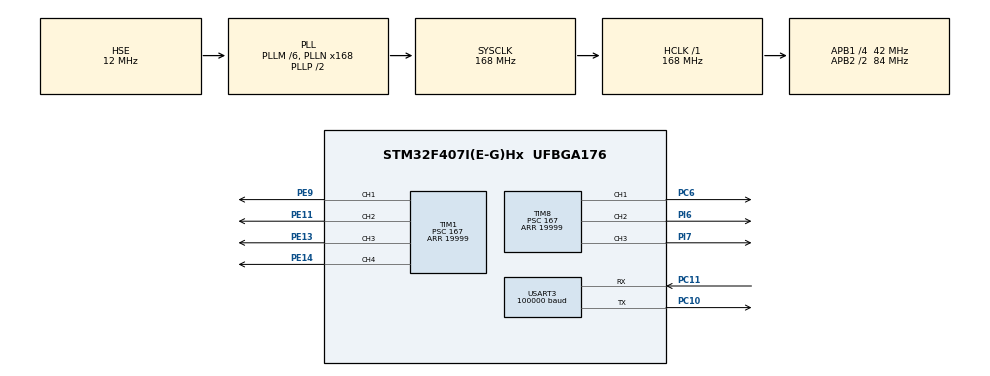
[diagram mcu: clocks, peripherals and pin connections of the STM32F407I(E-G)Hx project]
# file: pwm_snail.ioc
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Dma.Request0=USART3_RX
Dma.USART3_RX.0.Direction=DMA_PERIPH_TO_MEMORY
Dma.USART3_RX.0.FIFOMode=DMA_FIFOMODE_DISABLE
Dma.USART3_RX.0.Instance=DMA1_Stream1
Dma.USART3_RX.0.MemDataAlignment=DMA_MDATAALIGN_BYTE
Dma.USART3_RX.0.MemInc=DMA_MINC_ENABLE
Dma.USART3_RX.0.Mode=DMA_NORMAL
Dma.USART3_RX.0.PeriphDataAlignment=DMA_PDATAALIGN_BYTE
Dma.USART3_RX.0.PeriphInc=DMA_PINC_DISABLE
Dma.USART3_RX.0.Priority=DMA_PRIORITY_LOW
Mcu.Family=STM32F4
Mcu.Name=STM32F407I(E-G)Hx
Mcu.Package=UFBGA176
NVIC.DMA1_Stream1_IRQn=true\:0\:0\:false\:false\:true\:false\:false
NVIC.PriorityGroup=NVIC_PRIORITYGROUP_4
NVIC.USART3_IRQn=true\:0\:0\:false\:false\:false\:true\:true
PA13.Mode=Serial_Wire
PA13.Signal=SYS_JTMS-SWDIO
PA14.Mode=Serial_Wire
PA14.Signal=SYS_JTCK-SWCLK
PC10.Mode=Asynchronous
PC10.Signal=USART3_TX
PC11.Mode=Asynchronous
PC11.Signal=USART3_RX
PC6.GPIO_PuPd=GPIO_PULLUP
PC6.GPIO_Speed=GPIO_SPEED_FREQ_HIGH
PC6.Signal=S_TIM8_CH1
PE11.GPIO_PuPd=GPIO_PULLUP
PE11.GPIO_Speed=GPIO_SPEED_FREQ_HIGH
PE11.Signal=S_TIM1_CH2
PE13.GPIO_PuPd=GPIO_PULLUP
PE13.GPIO_Speed=GPIO_SPEED_FREQ_HIGH
PE13.Signal=S_TIM1_CH3
PE14.GPIO_PuPd=GPIO_PULLUP
PE14.GPIO_Speed=GPIO_SPEED_FREQ_HIGH
PE14.Signal=S_TIM1_CH4
PE9.GPIO_PuPd=GPIO_PULLUP
PE9.GPIO_Speed=GPIO_SPEED_FREQ_HIGH
PE9.Signal=S_TIM1_CH1
PH0-OSC_IN.Mode=HSE-External-Oscillator
PH0-OSC_IN.Signal=RCC_OSC_IN
PH1-OSC_OUT.Mode=HSE-External-Oscillator
PH1-OSC_OUT.Signal=RCC_OSC_OUT
PI6.GPIO_PuPd=GPIO_PULLUP
PI6.GPIO_Speed=GPIO_SPEED_FREQ_HIGH
PI6.Signal=S_TIM8_CH2
PI7.Signal=S_TIM8_CH3
ProjectManager.HeapSize=0x2000
ProjectManager.StackSize=0x2000
ProjectManager.TargetToolchain=MDK-ARM V5
RCC.48MHZClocksFreq_Value=48000000
RCC.AHBFreq_Value=168000000
RCC.APB1CLKDivider=RCC_HCLK_DIV4
RCC.APB1Freq_Value=42000000
RCC.APB1TimFreq_Value=84000000
RCC.APB2CLKDivider=RCC_HCLK_DIV2
RCC.APB2Freq_Value=84000000
RCC.APB2TimFreq_Value=168000000
RCC.CortexFreq_Value=168000000
RCC.HCLKFreq_Value=168000000
RCC.HSE_VALUE=12000000
RCC.HSI_VALUE=16000000
RCC.LSE_VALUE=32768
RCC.PLLM=6
RCC.PLLN=168
RCC.PLLQ=7
RCC.PLLSourceVirtual=RCC_PLLSOURCE_HSE
RCC.RCC_RTC_Clock_SourceVirtual=RCC_RTCCLKSOURCE_HSE_DIV30
RCC.RCC_RTC_Clock_Source_FROM_HSE=RCC_RTCCLKSOURCE_HSE_DIV30
RCC.SYSCLKFreq_VALUE=168000000
RCC.SYSCLKSource=RCC_SYSCLKSOURCE_PLLCLK
RCC.VCOOutputFreq_Value=336000000
SH.S_TIM1_CH1.0=TIM1_CH1,PWM Generation1 CH1
SH.S_TIM1_CH2.0=TIM1_CH2,PWM Generation2 CH2
SH.S_TIM1_CH3.0=TIM1_CH3,PWM Generation3 CH3
SH.S_TIM1_CH4.0=TIM1_CH4,PWM Generation4 CH4
SH.S_TIM8_CH1.0=TIM8_CH1,PWM Generation1 CH1
SH.S_TIM8_CH2.0=TIM8_CH2,PWM Generation2 CH2
SH.S_TIM8_CH3.0=TIM8_CH3,PWM Generation3 CH3
TIM1.Channel-PWM\ Generation1\ CH1=TIM_CHANNEL_1
TIM1.Channel-PWM\ Generation2\ CH2=TIM_CHANNEL_2
TIM1.Channel-PWM\ Generation3\ CH3=TIM_CHANNEL_3
TIM1.Channel-PWM\ Generation4\ CH4=TIM_CHANNEL_4
TIM1.Period=19999
TIM1.Prescaler=167
TIM1.Pulse-PWM\ Generation1\ CH1=2000
TIM1.Pulse-PWM\ Generation2\ CH2=2000
TIM1.Pulse-PWM\ Generation3\ CH3=2000
TIM1.Pulse-PWM\ Generation4\ CH4=2000
TIM8.Channel-PWM\ Generation1\ CH1=TIM_CHANNEL_1
TIM8.Channel-PWM\ Generation2\ CH2=TIM_CHANNEL_2
TIM8.Channel-PWM\ Generation3\ CH3=TIM_CHANNEL_3
TIM8.Period=19999
TIM8.Prescaler=167
TIM8.Pulse-PWM\ Generation1\ CH1=2000
TIM8.Pulse-PWM\ Generation2\ CH2=2000
TIM8.Pulse-PWM\ Generation3\ CH3=2000
USART3.BaudRate=100000
USART3.VirtualMode=VM_ASYNC
VP_TIM1_VS_ClockSourceINT.Mode=Internal
VP_TIM8_VS_ClockSourceINT.Mode=Internal
board=custom

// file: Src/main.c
/* USER CODE BEGIN Header */
/**
  ******************************************************************************
  * @file           : main.c
  * @brief          : Main program body
  ******************************************************************************
  * @attention
  *
  * <h2><center>&copy; Copyright (c) 2019 STMicroelectronics.
  * All rights reserved.</center></h2>
  *
  * This software component is licensed by ST under BSD 3-Clause license,
  * the "License"; You may not use this file except in compliance with the
  * License. You may obtain a copy of the License at:
  *                        opensource.org/licenses/BSD-3-Clause
  *
  ******************************************************************************
  */
/* USER CODE END Header */

#include "main.h"
#include "dma.h"
#include "tim.h"
#include "usart.h"
#include "gpio.h"

/* USER CODE BEGIN Includes */
#include "remote_control.h"
#include "bsp_fric.h"

/* USER CODE END Includes */

void SystemClock_Config(void);
/* USER CODE BEGIN PFP */
const RC_ctrl_t *local_rc_ctrl;
/* USER CODE END PFP */

int main(void)
{

  /* MCU Configuration--------------------------------------------------------*/

  /* Reset of all peripherals, Initializes the Flash interface and the Systick. */
  HAL_Init();

  /* Configure the system clock */
  SystemClock_Config();

  /* Initialize all configured peripherals */
  MX_GPIO_Init();
  MX_DMA_Init();
  MX_USART3_UART_Init();
  MX_TIM8_Init();
  MX_TIM1_Init();
  /* USER CODE BEGIN 2 */

    HAL_TIM_Base_Start(&htim1);
    HAL_TIM_PWM_Start(&htim1, TIM_CHANNEL_1);
    HAL_TIM_PWM_Start(&htim1, TIM_CHANNEL_2);
    HAL_TIM_PWM_Start(&htim1, TIM_CHANNEL_3);
    HAL_TIM_PWM_Start(&htim1, TIM_CHANNEL_1);
    HAL_TIM_Base_Start(&htim8);
    HAL_TIM_PWM_Start(&htim8, TIM_CHANNEL_1);
    HAL_TIM_PWM_Start(&htim8, TIM_CHANNEL_2);
    HAL_TIM_PWM_Start(&htim8, TIM_CHANNEL_3);
    remote_control_init();
    fric_off();
    local_rc_ctrl = get_remote_control_point();
    HAL_Delay(100);
    while(switch_is_up(local_rc_ctrl->rc.s[0]))
    {
        fric_on(2000);
        if(local_rc_ctrl->rc.ch[1] > 600)
        {
            fric_on(1000);
            break;
        }
    }

  /* USER CODE END 2 */

  /* Infinite loop */
  while (1)
  {

    /* USER CODE BEGIN 3 */
        fp32 pwm;
        pwm = 1000.0f + (local_rc_ctrl->rc.ch[3] > 0? local_rc_ctrl->rc.ch[3] : 0);
        fric_on((uint16_t)(pwm));
        HAL_Delay(100);
  }
  /* USER CODE END 3 */
}

void SystemClock_Config(void)
{
  RCC_OscInitTypeDef RCC_OscInitStruct = {0};
  RCC_ClkInitTypeDef RCC_ClkInitStruct = {0};

  /** Configure the main internal regulator output voltage
  */
  __HAL_RCC_PWR_CLK_ENABLE();
  __HAL_PWR_VOLTAGESCALING_CONFIG(PWR_REGULATOR_VOLTAGE_SCALE1);
  /** Initializes the CPU, AHB and APB busses clocks
  */
  RCC_OscInitStruct.OscillatorType = RCC_OSCILLATORTYPE_HSE;
  RCC_OscInitStruct.HSEState = RCC_HSE_ON;
  RCC_OscInitStruct.PLL.PLLState = RCC_PLL_ON;
  RCC_OscInitStruct.PLL.PLLSource = RCC_PLLSOURCE_HSE;
  RCC_OscInitStruct.PLL.PLLM = 6;
  RCC_OscInitStruct.PLL.PLLN = 168;
  RCC_OscInitStruct.PLL.PLLP = RCC_PLLP_DIV2;
  RCC_OscInitStruct.PLL.PLLQ = 7;
  if (HAL_RCC_OscConfig(&RCC_OscInitStruct) != HAL_OK)
  {
    Error_Handler();
  }
  /** Initializes the CPU, AHB and APB busses clocks
  */
  RCC_ClkInitStruct.ClockType = RCC_CLOCKTYPE_HCLK|RCC_CLOCKTYPE_SYSCLK
                              |RCC_CLOCKTYPE_PCLK1|RCC_CLOCKTYPE_PCLK2;
  RCC_ClkInitStruct.SYSCLKSource = RCC_SYSCLKSOURCE_PLLCLK;
  RCC_ClkInitStruct.AHBCLKDivider = RCC_SYSCLK_DIV1;
  RCC_ClkInitStruct.APB1CLKDivider = RCC_HCLK_DIV4;
  RCC_ClkInitStruct.APB2CLKDivider = RCC_HCLK_DIV2;

  if (HAL_RCC_ClockConfig(&RCC_ClkInitStruct, FLASH_LATENCY_5) != HAL_OK)
  {
    Error_Handler();
  }
}

void Error_Handler(void)
{
}

/************************ (C) COPYRIGHT STMicroelectronics *****END OF FILE****/
